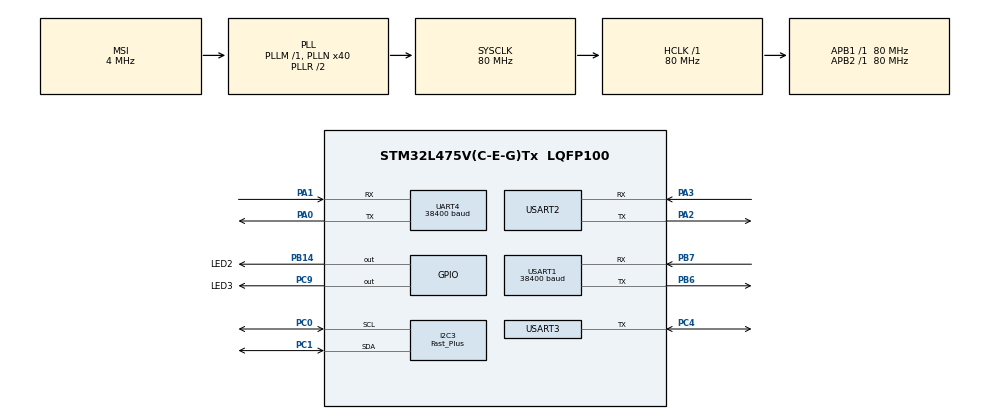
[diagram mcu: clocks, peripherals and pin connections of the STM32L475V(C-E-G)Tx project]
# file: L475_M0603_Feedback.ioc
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Dma.Request0=UART4_RX
Dma.Request1=UART4_TX
Dma.Request2=USART3_TX
Dma.Request3=USART3_RX
Dma.Request4=USART1_TX
Dma.Request5=USART1_RX
Dma.UART4_RX.0.Direction=DMA_PERIPH_TO_MEMORY
Dma.UART4_RX.0.Instance=DMA2_Channel5
Dma.UART4_RX.0.MemDataAlignment=DMA_MDATAALIGN_BYTE
Dma.UART4_RX.0.MemInc=DMA_MINC_ENABLE
Dma.UART4_RX.0.Mode=DMA_NORMAL
Dma.UART4_RX.0.PeriphDataAlignment=DMA_PDATAALIGN_BYTE
Dma.UART4_RX.0.PeriphInc=DMA_PINC_DISABLE
Dma.UART4_RX.0.Priority=DMA_PRIORITY_LOW
Dma.UART4_TX.1.Direction=DMA_MEMORY_TO_PERIPH
Dma.UART4_TX.1.Instance=DMA2_Channel3
Dma.UART4_TX.1.MemDataAlignment=DMA_MDATAALIGN_BYTE
Dma.UART4_TX.1.MemInc=DMA_MINC_ENABLE
Dma.UART4_TX.1.Mode=DMA_NORMAL
Dma.UART4_TX.1.PeriphDataAlignment=DMA_PDATAALIGN_BYTE
Dma.UART4_TX.1.PeriphInc=DMA_PINC_DISABLE
Dma.UART4_TX.1.Priority=DMA_PRIORITY_LOW
Dma.USART1_RX.5.Direction=DMA_PERIPH_TO_MEMORY
Dma.USART1_RX.5.Instance=DMA1_Channel5
Dma.USART1_RX.5.MemDataAlignment=DMA_MDATAALIGN_BYTE
Dma.USART1_RX.5.MemInc=DMA_MINC_ENABLE
Dma.USART1_RX.5.Mode=DMA_NORMAL
Dma.USART1_RX.5.PeriphDataAlignment=DMA_PDATAALIGN_BYTE
Dma.USART1_RX.5.PeriphInc=DMA_PINC_DISABLE
Dma.USART1_RX.5.Priority=DMA_PRIORITY_LOW
Dma.USART1_TX.4.Direction=DMA_MEMORY_TO_PERIPH
Dma.USART1_TX.4.Instance=DMA1_Channel4
Dma.USART1_TX.4.MemDataAlignment=DMA_MDATAALIGN_BYTE
Dma.USART1_TX.4.MemInc=DMA_MINC_ENABLE
Dma.USART1_TX.4.Mode=DMA_NORMAL
Dma.USART1_TX.4.PeriphDataAlignment=DMA_PDATAALIGN_BYTE
Dma.USART1_TX.4.PeriphInc=DMA_PINC_DISABLE
Dma.USART1_TX.4.Priority=DMA_PRIORITY_LOW
Dma.USART3_RX.3.Direction=DMA_PERIPH_TO_MEMORY
Dma.USART3_RX.3.Instance=DMA1_Channel3
Dma.USART3_RX.3.MemDataAlignment=DMA_MDATAALIGN_BYTE
Dma.USART3_RX.3.MemInc=DMA_MINC_ENABLE
Dma.USART3_RX.3.Mode=DMA_NORMAL
Dma.USART3_RX.3.PeriphDataAlignment=DMA_PDATAALIGN_BYTE
Dma.USART3_RX.3.PeriphInc=DMA_PINC_DISABLE
Dma.USART3_RX.3.Priority=DMA_PRIORITY_LOW
Dma.USART3_TX.2.Direction=DMA_MEMORY_TO_PERIPH
Dma.USART3_TX.2.Instance=DMA1_Channel2
Dma.USART3_TX.2.MemDataAlignment=DMA_MDATAALIGN_BYTE
Dma.USART3_TX.2.MemInc=DMA_MINC_ENABLE
Dma.USART3_TX.2.Mode=DMA_NORMAL
Dma.USART3_TX.2.PeriphDataAlignment=DMA_PDATAALIGN_BYTE
Dma.USART3_TX.2.PeriphInc=DMA_PINC_DISABLE
Dma.USART3_TX.2.Priority=DMA_PRIORITY_LOW
I2C3.I2C_Speed_Mode=I2C_Fast_Plus
I2C3.Timing=0x00B10E24
Mcu.Family=STM32L4
Mcu.Name=STM32L475V(C-E-G)Tx
Mcu.Package=LQFP100
NVIC.DMA1_Channel2_IRQn=true\:0\:0\:false\:false\:true\:false\:true\:true
NVIC.DMA1_Channel3_IRQn=true\:0\:0\:false\:false\:true\:false\:true\:true
NVIC.DMA1_Channel4_IRQn=true\:0\:0\:false\:false\:true\:false\:true\:true
NVIC.DMA1_Channel5_IRQn=true\:0\:0\:false\:false\:true\:false\:true\:true
NVIC.DMA2_Channel3_IRQn=true\:0\:0\:false\:false\:true\:false\:true\:true
NVIC.DMA2_Channel5_IRQn=true\:0\:0\:false\:false\:true\:false\:true\:true
NVIC.I2C3_EV_IRQn=true\:0\:0\:false\:false\:true\:true\:true\:true
NVIC.PriorityGroup=NVIC_PRIORITYGROUP_4
NVIC.TIM6_DAC_IRQn=true\:15\:0\:false\:false\:true\:false\:true\:true
NVIC.TimeBase=TIM6_DAC_IRQn
NVIC.TimeBaseIP=TIM6
NVIC.UART4_IRQn=true\:0\:0\:false\:false\:true\:true\:true\:true
NVIC.USART1_IRQn=true\:0\:0\:false\:false\:true\:true\:true\:true
NVIC.USART3_IRQn=true\:0\:0\:false\:false\:true\:true\:true\:true
PA0.Mode=Asynchronous
PA0.Signal=UART4_TX
PA1.Mode=Asynchronous
PA1.Signal=UART4_RX
PA13\ (JTMS-SWDIO).Mode=Serial_Wire
PA13\ (JTMS-SWDIO).Signal=SYS_JTMS-SWDIO
PA14\ (JTCK-SWCLK).Mode=Serial_Wire
PA14\ (JTCK-SWCLK).Signal=SYS_JTCK-SWCLK
PA2.Mode=Asynchronous
PA2.Signal=USART2_TX
PA3.Mode=Asynchronous
PA3.Signal=USART2_RX
PB14.GPIO_Label=LED2
PB14.PinState=GPIO_PIN_SET
PB14.Signal=GPIO_Output
PB6.Mode=Asynchronous
PB6.Signal=USART1_TX
PB7.Mode=Asynchronous
PB7.Signal=USART1_RX
PC0.Mode=I2C
PC0.Signal=I2C3_SCL
PC1.Mode=I2C
PC1.Signal=I2C3_SDA
PC14-OSC32_IN\ (PC14).Mode=LSE-External-Oscillator
PC14-OSC32_IN\ (PC14).Signal=RCC_OSC32_IN
PC15-OSC32_OUT\ (PC15).Mode=LSE-External-Oscillator
PC15-OSC32_OUT\ (PC15).Signal=RCC_OSC32_OUT
PC4.GPIO_ModeDefaultOD=GPIO_MODE_AF_PP
PC4.GPIO_PuPdOD=GPIO_NOPULL
PC4.Mode=Half_duplex(single_wire_mode)
PC4.Signal=USART3_TX
PC9.GPIO_Label=LED3
PC9.Signal=GPIO_Output
ProjectManager.HeapSize=0x200
ProjectManager.StackSize=0x400
ProjectManager.TargetToolchain=STM32CubeIDE
RCC.ADCFreq_Value=16000000
RCC.AHBFreq_Value=80000000
RCC.APB1Freq_Value=80000000
RCC.APB1TimFreq_Value=80000000
RCC.APB2Freq_Value=80000000
RCC.APB2TimFreq_Value=80000000
RCC.CortexFreq_Value=80000000
RCC.HCLKFreq_Value=80000000
RCC.HSE_VALUE=8000000
RCC.HSI_VALUE=16000000
RCC.LSE_Drive_CapabilityArg=+LSE_Drive_Capability
RCC.MSIAutoCalibration=ENABLED
RCC.MSI_VALUE=4000000
RCC.PLLN=40
RCC.SYSCLKFreq_VALUE=80000000
RCC.SYSCLKSource=RCC_SYSCLKSOURCE_PLLCLK
RCC.USBFreq_Value=16000000
RCC.VCOOutputFreq_Value=160000000
UART4.BaudRate=38400
UART4.RxPinLevelInvertParam=UART_ADVFEATURE_RXINV_DISABLE
UART4.TxPinLevelInvertParam=UART_ADVFEATURE_TXINV_DISABLE
USART1.BaudRate=38400
USART1.VirtualMode-Asynchronous=VM_ASYNC
USART2.VirtualMode-Asynchronous=VM_ASYNC
USART3.BaudRate=38400
USART3.DataInvertParam=ADVFEATURE_DATAINV_DISABLE
USART3.Mode=MODE_TX_RX
USART3.RxPinLevelInvertParam=ADVFEATURE_RXINV_ENABLE
USART3.SwapParam=ADVFEATURE_SWAP_DISABLE
USART3.TxPinLevelInvertParam=ADVFEATURE_TXINV_ENABLE
USART3.VirtualMode-Half_duplex(single_wire_mode)=VM_ASYNC
VP_SYS_VS_tim6.Mode=TIM6
board=custom

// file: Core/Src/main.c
/* USER CODE BEGIN Header */
/**
  ******************************************************************************
  * @file           : main.c
  * @brief          : Main program body
  ******************************************************************************
  * @attention
  *
  * Copyright (c) 2026 STMicroelectronics.
  * All rights reserved.
  *
  * This software is licensed under terms that can be found in the LICENSE file
  * in the root directory of this software component.
  * If no LICENSE file comes with this software, it is provided AS-IS.
  *
  ******************************************************************************
  */
/* USER CODE END Header */
#include "main.h"
#include "dma.h"
#include "i2c.h"
#include "usart.h"
#include "gpio.h"

/* USER CODE BEGIN Includes */
#include <string.h>
/* USER CODE END Includes */

/* USER CODE BEGIN PV */
uint8_t uart1_rx[100], uart1_tx;

uint8_t uart4_rx_data[256] = {0};
uint8_t uart3_tx_buf[256] = {0};
uint8_t usart3_rx_data[256] = {0};
uint8_t uart4_tx_buf[256] = {0};

volatile uint16_t uart3_tx_len = 0;
volatile uint16_t uart4_tx_len = 0;

volatile uint8_t uart1_tx_busy = 0;
volatile uint8_t uart4_tx_busy = 0;
volatile uint8_t uart3_tx_busy = 0;

/* USER CODE END PV */

void SystemClock_Config(void);

/* USER CODE BEGIN 0 */
static void UART4_StartRxDMA(void)
{
  HAL_UART_DMAStop(&huart4);

  if (HAL_UARTEx_ReceiveToIdle_DMA(&huart4, uart4_rx_data, sizeof(uart4_rx_data)) == HAL_OK)
  {
    __HAL_DMA_DISABLE_IT(huart4.hdmarx, DMA_IT_HT);
  }
}

static void USART3_StartRxDMA(void)
{
  HAL_UART_DMAStop(&huart3);
  HAL_HalfDuplex_EnableReceiver(&huart3);

  if (HAL_UARTEx_ReceiveToIdle_DMA(&huart3, usart3_rx_data, sizeof(usart3_rx_data)) == HAL_OK)
  {
    __HAL_DMA_DISABLE_IT(huart3.hdmarx, DMA_IT_HT);
  }
}

static void USART3_StopRxDMA(void)
{
  HAL_UART_DMAStop(&huart3);
}

/* USER CODE END 0 */

int main(void)
{

  /* MCU Configuration--------------------------------------------------------*/

  /* Reset of all peripherals, Initializes the Flash interface and the Systick. */
  HAL_Init();

  /* Configure the system clock */
  SystemClock_Config();

  /* Initialize all configured peripherals */
  MX_GPIO_Init();
  MX_DMA_Init();
  MX_I2C3_Init();
  MX_UART4_Init();
  MX_USART1_UART_Init();
  MX_USART2_UART_Init();
  MX_USART3_UART_Init();
  /* USER CODE BEGIN 2 */
  HAL_Delay(300);
  UART4_StartRxDMA();
  USART3_StartRxDMA();

  // __HAL_UART_ENABLE_IT(&huart4, UART_IT_IDLE);
  // HAL_UART_Receive_DMA(&huart4, (uint8_t*)uart1_rx, 100);
  // USART3_PC4_To_AF_OD_NoPull();
  // HAL_UARTEx_ReceiveToIdle_DMA(&huart4, rx_data, sizeof(rx_data));
  // __HAL_DMA_DISABLE_IT(huart4.hdmarx, DMA_IT_HT);

  // HAL_HalfDuplex_EnableReceiver(&huart3);
  // // HAL_UART_Receive_IT(&huart3, &uart2_rx, 1);
  // HAL_UART_Receive_IT(&huart3, uart2_rx_new, 10);

  // USART3_StartRxDMA();

  // uart2_tx = 0x0A;

  /* USER CODE END 2 */

  /* Infinite loop */
  /* USER CODE BEGIN WHILE */
  while (1)
  {

    HAL_GPIO_TogglePin(LED2_GPIO_Port, LED2_Pin);
    HAL_Delay(200);
    /* USER CODE END WHILE */

  }
}

void SystemClock_Config(void)
{
  RCC_OscInitTypeDef RCC_OscInitStruct = {0};
  RCC_ClkInitTypeDef RCC_ClkInitStruct = {0};

  /** Configure the main internal regulator output voltage
  */
  if (HAL_PWREx_ControlVoltageScaling(PWR_REGULATOR_VOLTAGE_SCALE1) != HAL_OK)
  {
    Error_Handler();
  }

  /** Configure LSE Drive Capability
  */
  HAL_PWR_EnableBkUpAccess();
  __HAL_RCC_LSEDRIVE_CONFIG(RCC_LSEDRIVE_LOW);

  /** Initializes the RCC Oscillators according to the specified parameters
  * in the RCC_OscInitTypeDef structure.
  */
  RCC_OscInitStruct.OscillatorType = RCC_OSCILLATORTYPE_LSE|RCC_OSCILLATORTYPE_MSI;
  RCC_OscInitStruct.LSEState = RCC_LSE_ON;
  RCC_OscInitStruct.MSIState = RCC_MSI_ON;
  RCC_OscInitStruct.MSICalibrationValue = 0;
  RCC_OscInitStruct.MSIClockRange = RCC_MSIRANGE_6;
  RCC_OscInitStruct.PLL.PLLState = RCC_PLL_ON;
  RCC_OscInitStruct.PLL.PLLSource = RCC_PLLSOURCE_MSI;
  RCC_OscInitStruct.PLL.PLLM = 1;
  RCC_OscInitStruct.PLL.PLLN = 40;
  RCC_OscInitStruct.PLL.PLLP = RCC_PLLP_DIV7;
  RCC_OscInitStruct.PLL.PLLQ = RCC_PLLQ_DIV2;
  RCC_OscInitStruct.PLL.PLLR = RCC_PLLR_DIV2;
  if (HAL_RCC_OscConfig(&RCC_OscInitStruct) != HAL_OK)
  {
    Error_Handler();
  }

  /** Initializes the CPU, AHB and APB buses clocks
  */
  RCC_ClkInitStruct.ClockType = RCC_CLOCKTYPE_HCLK|RCC_CLOCKTYPE_SYSCLK
                              |RCC_CLOCKTYPE_PCLK1|RCC_CLOCKTYPE_PCLK2;
  RCC_ClkInitStruct.SYSCLKSource = RCC_SYSCLKSOURCE_PLLCLK;
  RCC_ClkInitStruct.AHBCLKDivider = RCC_SYSCLK_DIV1;
  RCC_ClkInitStruct.APB1CLKDivider = RCC_HCLK_DIV1;
  RCC_ClkInitStruct.APB2CLKDivider = RCC_HCLK_DIV1;

  if (HAL_RCC_ClockConfig(&RCC_ClkInitStruct, FLASH_LATENCY_4) != HAL_OK)
  {
    Error_Handler();
  }

  /** Enable MSI Auto calibration
  */
  HAL_RCCEx_EnableMSIPLLMode();
}

/* USER CODE BEGIN 4 */
void HAL_UART_ErrorCallback(UART_HandleTypeDef *huart)
{
  if (huart->Instance == USART3)
  {
    HAL_UART_DMAStop(&huart3);
    HAL_UART_Abort(&huart3);

    __HAL_UART_CLEAR_OREFLAG(&huart3);
    __HAL_UART_CLEAR_FEFLAG(&huart3);
    __HAL_UART_CLEAR_NEFLAG(&huart3);
    __HAL_UART_CLEAR_PEFLAG(&huart3);
    __HAL_UART_CLEAR_IDLEFLAG(&huart3);

    uart3_tx_busy = 0;
    USART3_StartRxDMA();
  }
  else if (huart->Instance == UART4)
  {
    HAL_UART_DMAStop(&huart4);
    HAL_UART_Abort(&huart4);

    __HAL_UART_CLEAR_OREFLAG(&huart4);
    __HAL_UART_CLEAR_FEFLAG(&huart4);
    __HAL_UART_CLEAR_NEFLAG(&huart4);
    __HAL_UART_CLEAR_PEFLAG(&huart4);
    __HAL_UART_CLEAR_IDLEFLAG(&huart4);

    uart4_tx_busy = 0;
    UART4_StartRxDMA();
  }
}

void HAL_UART_TxCpltCallback(UART_HandleTypeDef *huart)
{
  if (huart->Instance == USART1)
  {
    uart1_tx_busy = 0;
  }
  else if (huart->Instance == UART4)
  {
    uart4_tx_busy = 0;
  }
  else if (huart->Instance == USART3)
  {
    uart3_tx_busy = 0;
    // HAL_HalfDuplex_EnableReceiver(&huart3);
    USART3_StartRxDMA();
  }
}

void HAL_UARTEx_RxEventCallback(UART_HandleTypeDef *huart, uint16_t Size)
{
  if (huart->Instance == UART4)
  {
    if ((Size > 0U) && (Size <= sizeof(uart3_tx_buf)) && (!uart3_tx_busy))
    {
      memcpy(uart3_tx_buf, uart4_rx_data, Size);
      uart3_tx_len = Size;

      USART3_StopRxDMA();
      HAL_HalfDuplex_EnableTransmitter(&huart3);

      if (HAL_UART_Transmit_DMA(&huart3, uart3_tx_buf, uart3_tx_len) == HAL_OK)
      {
        uart3_tx_busy = 1;
      }
      else
      {
        uart3_tx_busy = 0;
        USART3_StartRxDMA();
      }
    }

    UART4_StartRxDMA();
  }
  else if (huart->Instance == USART3)
  {
    if ((Size > 0U) && (Size <= sizeof(uart4_tx_buf)) && (!uart4_tx_busy))
    {
      memcpy(uart4_tx_buf, usart3_rx_data, Size);
      uart4_tx_len = Size;

      if (HAL_UART_Transmit_DMA(&huart4, uart4_tx_buf, uart4_tx_len) == HAL_OK)
      {
        uart4_tx_busy = 1;
      }
    }

    USART3_StartRxDMA();
  }
}

/* USER CODE END 4 */

void HAL_TIM_PeriodElapsedCallback(TIM_HandleTypeDef *htim)
{
  if (htim->Instance == TIM6)
  {
    HAL_IncTick();
  }
}

void Error_Handler(void)
{
  __disable_irq();
  while (1)
  {
  }
}
